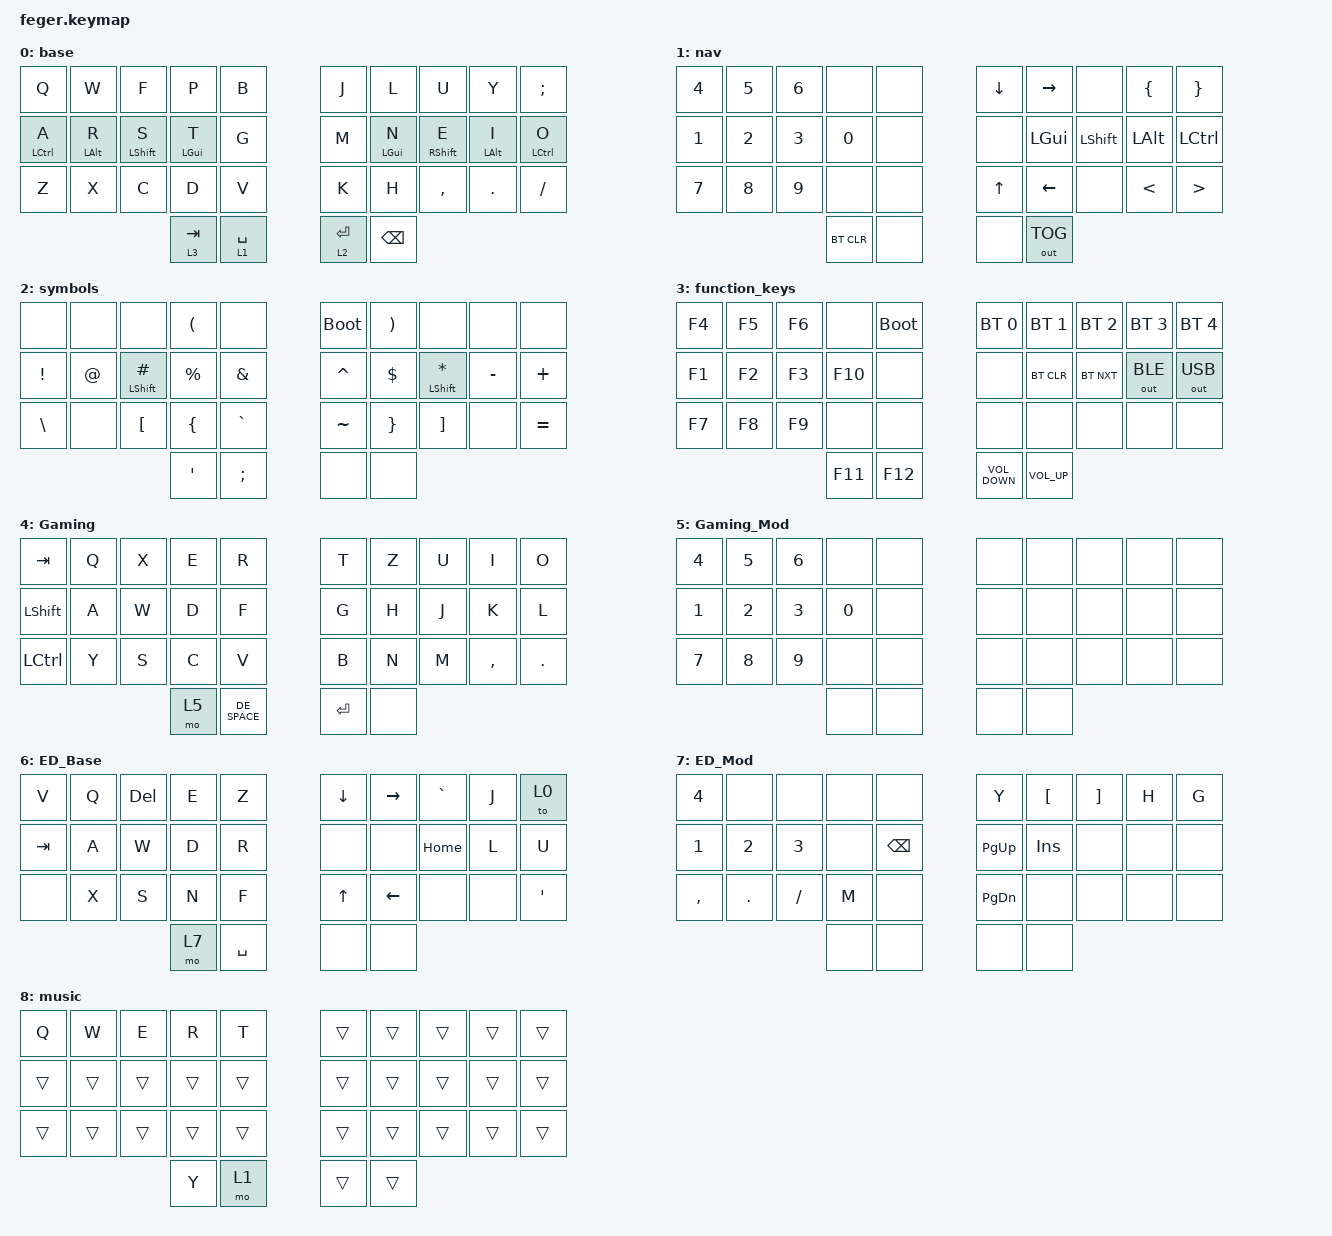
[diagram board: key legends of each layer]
/*
 * Copyright (c) 2020 The ZMK Contributors
 *
 * SPDX-License-Identifier: MIT
 */

#include "keys_de.h"
#include <behaviors.dtsi>
#include <dt-bindings/zmk/bt.h>
#include <dt-bindings/zmk/keys.h>
#include <dt-bindings/zmk/outputs.h>

&mt { flavor = "tap-preferred"; };

/ {
    combos {
        compatible = "zmk,combos";

        esc_left {
            bindings = <&kp ESC>;
            key-positions = <14 13>;
        };

        gaming {
            bindings = <&to 4>;
            key-positions = <0 20>;
        };

        ed {
            bindings = <&to 6>;
            key-positions = <9 29>;
        };

        base {
            bindings = <&to 0>;
            key-positions = <5 25>;
        };

        esc_right {
            bindings = <&kp ESCAPE>;
            key-positions = <15 16>;
        };

        qwerty {
            bindings = <&to 8>;
            key-positions = <20 9>;
        };
    };

    keymap {
        compatible = "zmk,keymap";

        base {
            bindings = <
&kp Q        &kp W       &kp F         &kp P       &kp B        &kp J        &kp L          &kp U         &kp Y       &kp SEMICOLON
&mt LCTRL A  &mt LALT R  &mt LSHIFT S  &mt LGUI T  &kp G        &kp M        &mt LGUI N     &mt RSHIFT E  &mt LALT I  &mt LCTRL O
&kp Z        &kp X       &kp C         &kp D       &kp V        &kp K        &kp H          &kp COMMA     &kp DOT     &kp SLASH
                                       &lt 3 TAB   &lt 1 SPACE  &lt 2 ENTER  &kp BACKSPACE
            >;
        };

        nav {
            bindings = <
&kp NUMBER_4  &kp NUMBER_5  &kp NUMBER_6  &none         &none  &kp DOWN_ARROW  &kp RIGHT_ARROW  &none           &kp LEFT_BRACE  &kp RIGHT_BRACE
&kp NUMBER_1  &kp NUMBER_2  &kp NUMBER_3  &kp NUMBER_0  &none  &none           &kp LGUI         &kp LEFT_SHIFT  &kp LEFT_ALT    &kp LCTRL
&kp NUMBER_7  &kp NUMBER_8  &kp NUMBER_9  &none         &none  &kp UP_ARROW    &kp LEFT_ARROW   &none           &kp LESS_THAN   &kp GREATER_THAN
                                          &bt BT_CLR    &none  &none           &out OUT_TOG
            >;
        };

        symbols {
            bindings = <
&none            &none   &none             &kp LEFT_PARENTHESIS  &none          &bootloader  &kp RIGHT_PARENTHESIS  &none              &none      &none
&kp EXCLAMATION  &kp AT  &mt LSHFT HASH    &kp PERCENT           &kp AMPERSAND  &kp CARET    &kp DOLLAR             &mt LSHFT STAR     &kp MINUS  &kp PLUS
&kp BACKSLASH    &none   &kp LEFT_BRACKET  &kp LEFT_BRACE        &kp GRAVE      &kp TILDE    &kp RIGHT_BRACE        &kp RIGHT_BRACKET  &none      &kp EQUAL
                                           &kp SINGLE_QUOTE      &kp SEMICOLON  &none        &none
            >;
        };

        function_keys {
            bindings = <
&kp F4  &kp F5  &kp F6  &none    &bootloader  &bt BT_SEL 0       &bt BT_SEL 1     &bt BT_SEL 2  &bt BT_SEL 3  &bt BT_SEL 4
&kp F1  &kp F2  &kp F3  &kp F10  &none        &none              &bt BT_CLR       &bt BT_NXT    &out OUT_BLE  &out OUT_USB
&kp F7  &kp F8  &kp F9  &none    &none        &none              &none            &none         &none         &none
                        &kp F11  &kp F12      &kp C_VOLUME_DOWN  &kp C_VOLUME_UP
            >;
        };

        Gaming {
            bindings = <
&kp TAB    &kp Q  &kp X  &kp E  &kp R         &kp T    &kp Z  &kp U  &kp I      &kp O
&kp LSHFT  &kp A  &kp W  &kp D  &kp F         &kp G    &kp H  &kp J  &kp K      &kp L
&kp LCTRL  &kp Y  &kp S  &kp C  &kp V         &kp B    &kp N  &kp M  &kp COMMA  &kp DOT
                         &mo 5  &kp DE_SPACE  &kp RET  &none
            >;
        };

        Gaming_Mod {
            bindings = <
&kp N4  &kp N5  &kp N6  &none   &none  &none  &none  &none  &none  &none
&kp N1  &kp N2  &kp N3  &kp N0  &none  &none  &none  &none  &none  &none
&kp N7  &kp N8  &kp N9  &none   &none  &none  &none  &none  &none  &none
                        &none   &none  &none  &none
            >;
        };

        ED_Base {
            bindings = <
&kp V    &kp Q  &kp DELETE  &kp E  &kp Z      &kp DOWN      &kp RIGHT  &kp GRAVE  &kp J  &to 0
&kp TAB  &kp A  &kp W       &kp D  &kp R      &none         &none      &kp HOME   &kp L  &kp U
&none    &kp X  &kp S       &kp N  &kp F      &kp UP_ARROW  &kp LEFT   &none      &none  &kp APOSTROPHE
                            &mo 7  &kp SPACE  &none         &none
            >;
        };

        ED_Mod {
            bindings = <
&kp NUMBER_4  &none         &none         &none  &none          &kp Y      &kp LEFT_BRACKET  &kp RIGHT_BRACKET  &kp H  &kp G
&kp NUMBER_1  &kp NUMBER_2  &kp NUMBER_3  &none  &kp BACKSPACE  &kp PG_UP  &kp INSERT        &none              &none  &none
&kp COMMA     &kp PERIOD    &kp SLASH     &kp M  &none          &kp PG_DN  &none             &none              &none  &none
                                          &none  &none          &none      &none
            >;
        };

        music {
            bindings = <
&kp Q   &kp W   &kp E   &kp R   &kp T   &trans  &trans  &trans  &trans  &trans
&trans  &trans  &trans  &trans  &trans  &trans  &trans  &trans  &trans  &trans
&trans  &trans  &trans  &trans  &trans  &trans  &trans  &trans  &trans  &trans
                        &kp Y   &mo 1   &trans  &trans
            >;
        };
    };
};
